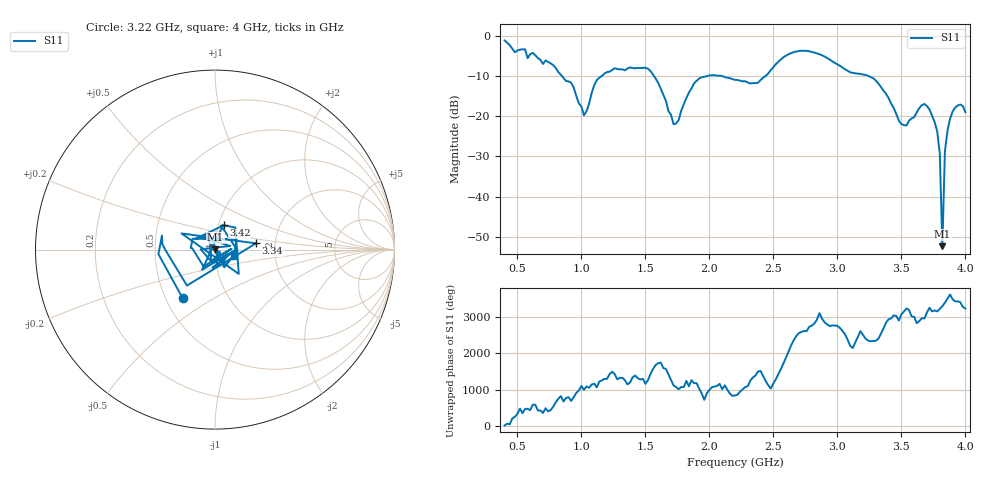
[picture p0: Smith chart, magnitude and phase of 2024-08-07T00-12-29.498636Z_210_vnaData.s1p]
!Created with skrf (http://scikit-rf.org).
# Hz S RI R 50.0
!freq ReS11 ImS11
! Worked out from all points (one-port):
!   181 points, 400 MHz to 4 GHz, reference 50 ohm
!   lowest |S11| = -52.3 dB at 3.82 GHz (marker M1), VSWR 1.00, Z = 50.2 + j0.176 ohm
!   |S11| at or under -10 dB: 1.566 GHz to 1.987 GHz (420.9 MHz wide, 23.7 % of centre); 2.089 GHz to 2.441 GHz (351.6 MHz wide, 15.5 % of centre); 3.24 GHz to end of sweep (the widest 3 of 4)
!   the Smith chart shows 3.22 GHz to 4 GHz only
!   S11 on the Smith chart (normalised r, x): 3.22 GHz: 0.61, -0.37; 3.34 GHz: 1.58, +0.12; 3.42 GHz: 1.06, +0.29; 4 GHz: 1.23, -0.09
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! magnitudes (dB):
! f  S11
! 400 MHz  -1.2
! 860 MHz  -10.5
! 920 MHz  -11.7
! 1.02 GHz  -19.8
! 1.12 GHz  -11.1
! 1.3 GHz  -8.4
! 1.52 GHz  -8.2
! 1.6 GHz  -11.7
! 1.72 GHz  -22.0
! 1.76 GHz  -21.0
! 1.92 GHz  -10.7
! 2.2 GHz  -11.0
! 2.38 GHz  -11.7
! 2.66 GHz  -4.1
! 3.1 GHz  -9.1
! 3.22 GHz  -9.8
! 3.34 GHz  -12.8
! 3.42 GHz  -16.9
! 3.5 GHz  -22.0
! 3.56 GHz  -21.1
! 3.68 GHz  -17.0
! 3.78 GHz  -23.8
! 3.8 GHz  -29.4
! 3.82 GHz  -52.3
! 3.84 GHz  -28.8
! 3.86 GHz  -23.7
! 3.92 GHz  -17.9
! 4 GHz  -19.0
